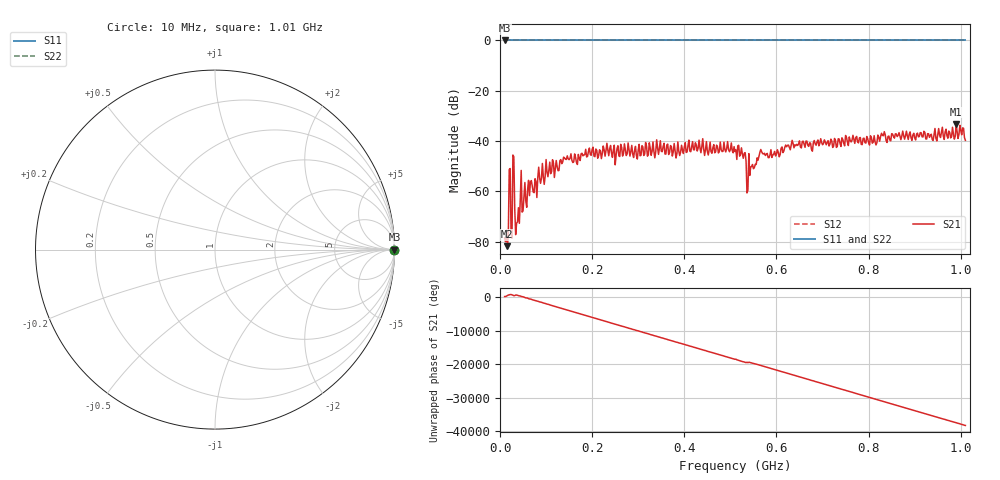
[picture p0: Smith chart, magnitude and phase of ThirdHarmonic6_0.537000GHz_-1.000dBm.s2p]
! 8/15/2025 4:49:17 PM
! C:\ANRITSUVNA\TEMP\TEMP.S2P
! CHANNEL.1
! TR.MEASUREMENT
! RAW.DATA
! RF.CORRECTION.OFF
! AVERAGING.OFF
! IF.BANDWIDTH: 5KHZ
! SWEEPTYPE:  FREQ.SWEEP(Linear)
! Reference Plane Port Info
! PORT:  PORT1  PORT2
! DISTANCE:  0  m  0  m
! TIME:  0  s  0  s
! PHASE.OFFSET:  0  deg.  0  deg.
! LOSS:  0  dB  0  dB
! REF.LOSS:  0  dB  0  dB
! REF.FREQ:  0  Hz  0  Hz
! Power Info
! POWER:  -20  dBm  -20  dBm
! EFF.POWER:  -20  dBm  -20  dBm
! SOURCE.ATTEN:  0  dB  0  dB
! TEST.ATTEN:  0  dB  0  dB
# GHZ S RI R 50.0
! FREQ.GHZ  S11RE  S11IM  S21RE  S21IM  S12RE  S12IM  S22RE  S22IM
!; PortSelection: Port_12
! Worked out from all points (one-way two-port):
!   501 points, 10 MHz to 1.01 GHz, reference 50 ohm
!   highest |S21| = -33.20 dB at 990 MHz (marker M1); lowest = -81.8 dB at 16 MHz (marker M2)
!   lowest |S11| = 0.0 dB at 10 MHz (marker M3)
!   |S11| at or under -10 dB: nowhere
!   |S22| runs from 0.0 to 0.0 dB; largest |S21 - S12| = 1
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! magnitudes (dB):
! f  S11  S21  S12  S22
! 10 MHz  0.0  -78.5  0.0  0.0
! 14 MHz  0.0  -75.5  0.0  0.0
! 16 MHz  0.0  -81.8  0.0  0.0
! 18 MHz  0.0  -78.1  0.0  0.0
! 22 MHz  0.0  -51.0  0.0  0.0
! 26 MHz  0.0  -78.7  0.0  0.0
! 32 MHz  0.0  -67.1  0.0  0.0
! 38 MHz  0.0  -72.2  0.0  0.0
! 42 MHz  0.0  -72.7  0.0  0.0
! 50 MHz  0.0  -67.8  0.0  0.0
! 76 MHz  0.0  -55.0  0.0  0.0
! 88 MHz  0.0  -56.9  0.0  0.0
! 178 MHz  0.0  -44.9  0.0  0.0
! 344 MHz  0.0  -45.3  0.0  0.0
! 510 MHz  0.0  -44.2  0.0  0.0
! 528 MHz  0.0  -46.9  0.0  0.0
! 540 MHz  0.0  -45.0  0.0  0.0
! 566 MHz  0.0  -43.4  0.0  0.0
! 678 MHz  0.0  -44.1  0.0  0.0
! 844 MHz  0.0  -38.0  0.0  0.0
! 990 MHz  0.0  -33.2  0.0  0.0
! 1.01 GHz  0.0  -39.7  0.0  0.0
